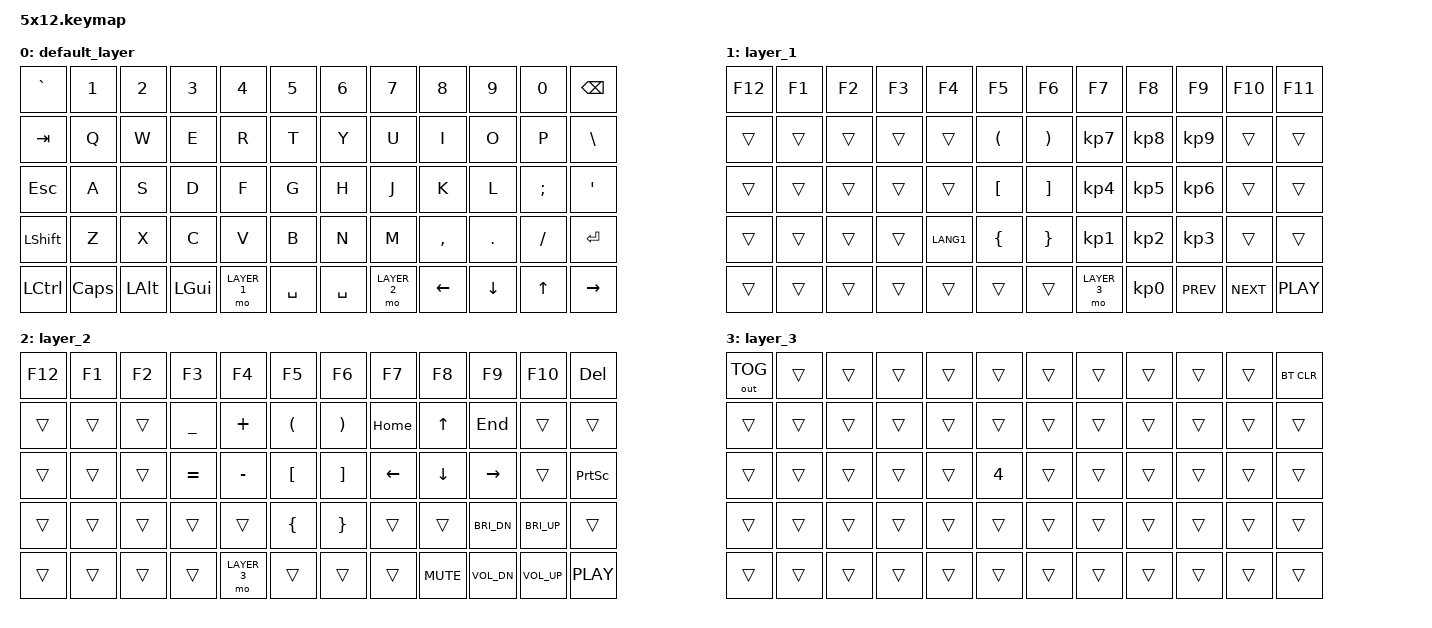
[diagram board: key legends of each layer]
/*
 * Copyright (c) 2023 HeeChan Kang
 *
 * SPDX-License-Identifier: MIT
 */

#include <behaviors.dtsi>
#include <dt-bindings/zmk/keys.h>
#include <dt-bindings/zmk/bt.h>
#include <dt-bindings/zmk/outputs.h>

#define DEFAULT 0
#define LAYER_1 1
#define LAYER_2 2
#define LAYER_3 3

/ {
    keymap {
        compatible = "zmk,keymap";
        default_layer {
            //  -------------------------------------------------------------------------------------------------
            // |  GRAV |  1   |  2   |  3   |  4    |  5     |   6     |  7     |  8   |  9    |   0   | BSPC   |
            // |  TAB  |  Q   |  W   |  E   |  R    |  T     |   Y     |  U     |  I   |  O    |   P   |  \     |
            // |  ESC  |  A   |  S   |  D   |  F    |  G     |   H     |  J     |  K   |  L    |   ;   |  '     |
            // | SHIFT |  Z   |  X   |  C   |  V    |  B     |   N     |  M     |  ,   |  .    |   /   | RET    |
            // |  CTRL | CAPS | LALT | LGUI | L_1   | SPACE  |  SPACE  |  L_2   | LEFT |  DOWN |   UP  | RIGHT  |
            bindings = <
                &kp GRAVE   &kp N1     &kp N2    &kp N3    &kp N4       &kp N5     &kp N6     &kp N7       &kp N8     &kp N9    &kp N0     &kp BSPC
                &kp TAB     &kp Q      &kp W     &kp E     &kp R        &kp T      &kp Y      &kp U        &kp I      &kp O     &kp P      &kp BSLH
                &kp ESC     &kp A      &kp S     &kp D     &kp F        &kp G      &kp H      &kp J        &kp K      &kp L     &kp SEMI   &kp SQT
                &kp LSHIFT  &kp Z      &kp X     &kp C     &kp V        &kp B      &kp N      &kp M        &kp COMMA  &kp DOT   &kp SLASH  &kp RET
                &kp LCTRL   &kp CAPS   &kp LALT  &kp LGUI  &mo LAYER_1  &kp SPACE  &kp SPACE  &mo LAYER_2  &kp LEFT   &kp DOWN  &kp UP     &kp RIGHT
                >;
        };
        layer_1 {
            // ------------------------------------------------------------------------------------------
            // |  F12  |  F1  |  F2  |  F3  |  F4  |  F5  |  F6   |  F7  |  F8  |   F9 |  F10  |  F11  |
            // |       |      |      |      |      |  (   |   )   |  7   |   8  |  9   |       |       |
            // |       |      |      |      |      |  [   |   ]   |  4   |   5  |  6   |       |       |
            // |       |      |      |      |      |  {   |   }   |  1   |   2  |  3   |       |       |
            // |       |      |      |      |      |      |       | L_3  |   0  | PREV | NEXT  | PLAY  |
            bindings = <
                &kp F12  &kp F1  &kp F2  &kp F3  &kp F4     &kp F5    &kp F6    &kp F7       &kp F8     &kp F9     &kp F10    &kp F11
                &trans    &trans   &trans   &trans   &trans      &kp LPAR  &kp RPAR  &kp KP_N7    &kp KP_N8  &kp KP_N9  &trans      &trans
                &trans    &trans   &trans   &trans   &trans      &kp LBKT  &kp RBKT  &kp KP_N4    &kp KP_N5  &kp KP_N6  &trans      &trans
                &trans    &trans   &trans   &trans   &kp LANG1  &kp LBRC  &kp RBRC  &kp KP_N1    &kp KP_N2  &kp KP_N3  &trans      &trans
                &trans    &trans   &trans   &trans   &trans      &trans     &trans     &mo LAYER_3  &kp KP_N0  &kp C_PREV &kp C_NEXT &kp C_PLAY
                >;
        };
        layer_2 {
            // -------------------------------------------------------------------------------------------
            // |  F12  |  F1  |  F2  |  F3  |  F4  |  F5   |  F6   |  F7   |  F8  |  F9       |   F10   |   DEL   |
            // |       |      |      |  _   |  +   |   (   |   )   | HOME  |  UP  |  END      |         |         |
            // |       |      |      |  =   |  -   |   [   |   ]   | LEFT  | DOWN | RIGHT     |         | PRNTSCR |
            // |       |      |      |      |      |   {   |   }   |       |      |  BRGTDOWN |  BRGTUP |         |
            // |       |      |      |      | L_3  |       |       |       | MUTE |   VOL-    |   VOL+  |  PLAY   |
            bindings = <
                &kp F12  &kp F1  &kp F2  &kp F3     &kp F4        &kp F5    &kp F6     &kp F7     &kp F8     &kp F9        &kp F10       &kp DEL
                &trans    &trans   &trans   &kp UNDER  &kp PLUS      &kp LPAR  &kp RPAR   &kp HOME   &kp UP     &kp END       &trans         &trans
                &trans    &trans   &trans   &kp EQUAL  &kp MINUS     &kp LBKT  &kp RBKT   &kp LEFT   &kp DOWN   &kp RIGHT     &trans         &kp PSCRN
                &trans    &trans   &trans   &trans      &trans         &kp LBRC  &kp RBRC   &trans      &trans      &kp C_BRI_DN  &kp C_BRI_UP  &trans
                &trans    &trans   &trans   &trans      &mo LAYER_3   &trans     &trans      &trans      &kp C_MUTE &kp C_VOL_DN  &kp C_VOL_UP  &kp C_PLAY
                >;
        };
        layer_3 {
            // -----------------------------------------------------------------------------------------------
            // |OUTTOG|      |      |      |      |      |      |      |         |        |        | BT_CLR |
            // |      |      |      |      |      |      |      |      |         |        |        |        |
            // |      |      |      |      |      |      |      |      |         |        |        |        |
            // |      |      |      |      |      |      |      |      |         |        |        |        |
            // |      |      |      |      |      |      |      |      | OUT_TOG |        |        |        |
            bindings = <
                &out OUT_TOG &trans      &trans &trans &trans &trans &trans &trans &trans   &trans       &trans       &bt BT_CLR
                &trans       &trans      &trans &trans &trans &trans &trans &trans &trans   &trans       &trans       &trans
                &trans       &trans      &trans &trans &trans &kp N4 &trans &trans &trans   &trans       &trans       &trans
                &trans       &trans      &trans &trans &trans &trans &trans &trans &trans   &trans       &trans       &trans
                &trans       &trans      &trans &trans &trans &trans &trans &trans &trans   &trans       &trans       &trans
                >;
        };
    };
};
